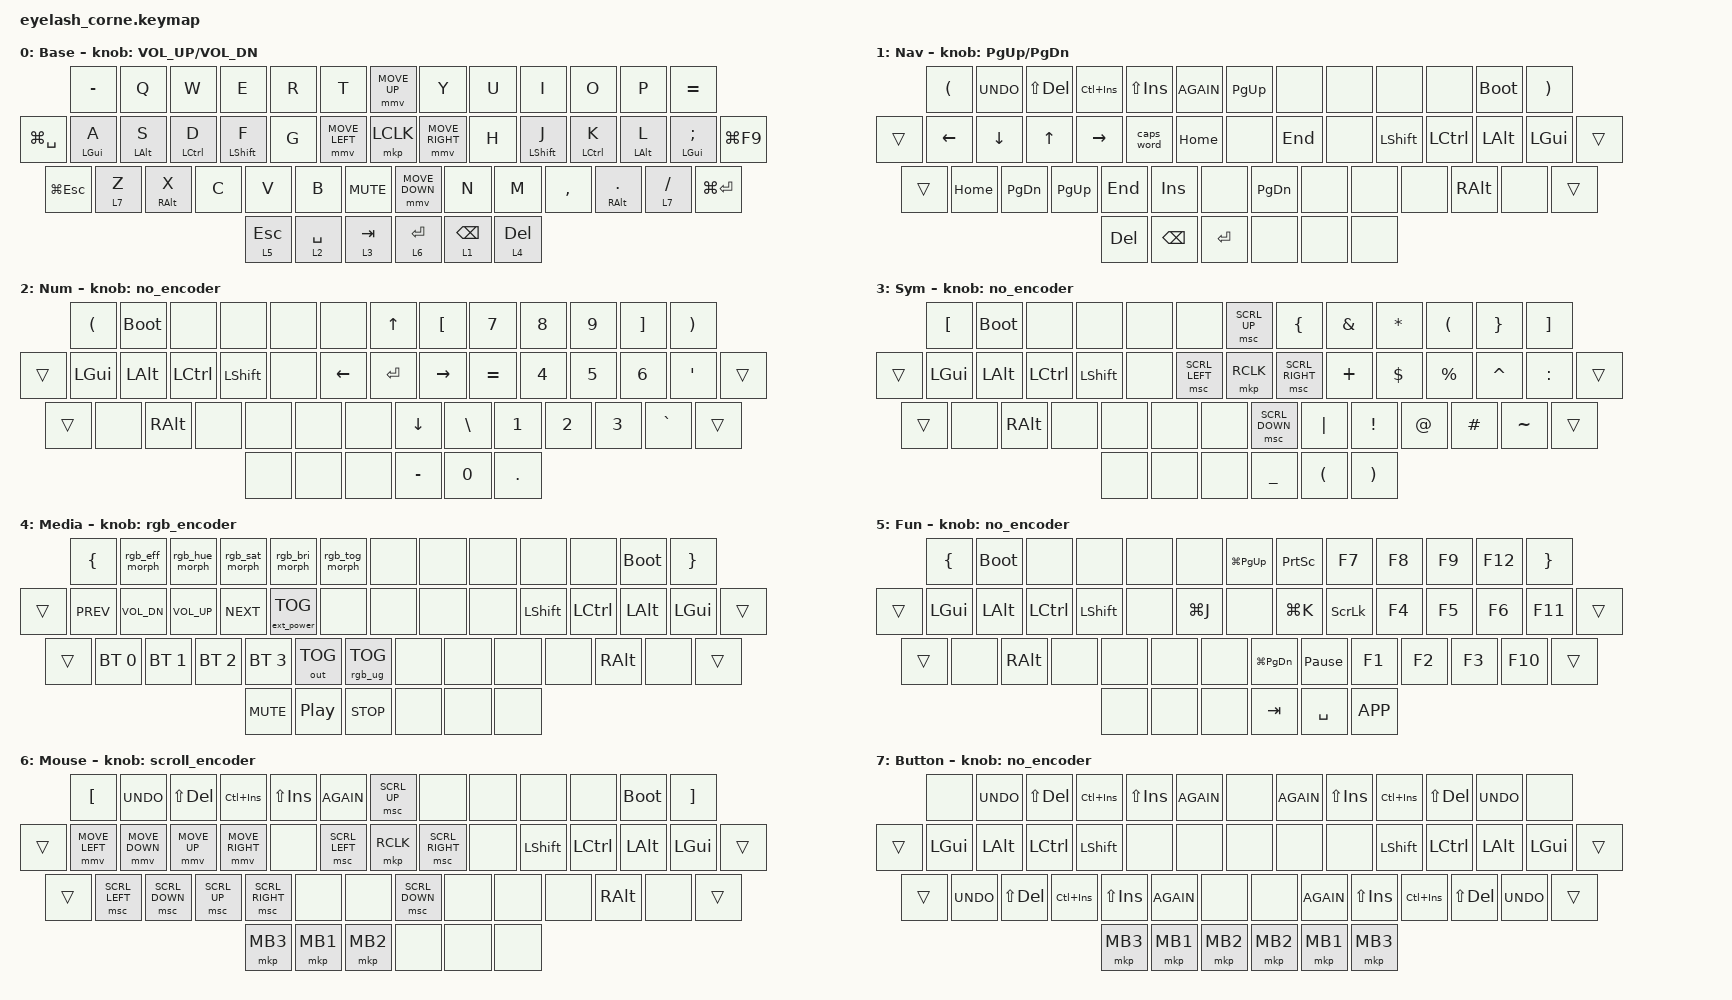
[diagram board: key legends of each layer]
#define ZMK_POINTING_DEFAULT_MOVE_VAL 1200  // 600
#define ZMK_POINTING_DEFAULT_SCRL_VAL 25   // 10

#include <input/processors.dtsi>
#include <zephyr/dt-bindings/input/input-event-codes.h>
#include <behaviors.dtsi>
#include <dt-bindings/zmk/bt.h>
#include <dt-bindings/zmk/ext_power.h>
#include <dt-bindings/zmk/keys.h>
#include <dt-bindings/zmk/modifiers.h>
#include <dt-bindings/zmk/outputs.h>
#include <dt-bindings/zmk/pointing.h>
#include <dt-bindings/zmk/rgb.h>

&mmv_input_listener { input-processors = <&zip_xy_scaler 2 1>; };

&msc_input_listener { input-processors = <&zip_scroll_scaler 2 1>; };

&msc {
    acceleration-exponent = <1>;
    time-to-max-speed-ms = <100>;
    delay-ms = <0>;
};

&mmv {
    time-to-max-speed-ms = <500>;
    acceleration-exponent = <1>;
    trigger-period-ms = <16>;
};

&soft_off { hold-time-ms = <2000>; };

// Miryoku's own hold-tap tuning (tap-preferred, 200ms), applied to both the
// built-in layer-tap behavior and our home-row-mod behavior below. quick-tap-ms
// is a deviation from stock Miryoku (which defines none): tap then quickly
// press-and-hold again within this window to repeat the tap key normally,
// instead of re-triggering the hold-tap decision — needed since tap-hold keys
// can't auto-repeat on their own while held.
&lt { tapping-term-ms = <200>; flavor = "tap-preferred"; quick-tap-ms = <175>; };

/ {
    behaviors {
        hrm: hrm {
            compatible = "zmk,behavior-hold-tap";
            #binding-cells = <2>;
            flavor = "tap-preferred";
            tapping-term-ms = <200>;
            quick-tap-ms = <175>;
            bindings = <&kp>, <&kp>;
        };

        rgb_encoder: rgb_encoder {
            compatible = "zmk,behavior-sensor-rotate";
            #sensor-binding-cells = <0>;
            bindings = <&rgb_ug RGB_EFF>, <&rgb_ug RGB_EFR>;
        };

        scroll_encoder: scroll_encoder {
            compatible = "zmk,behavior-sensor-rotate";
            #sensor-binding-cells = <0>;
            bindings = <&msc SCRL_DOWN>, <&msc SCRL_UP>;
            tap-ms = <100>;
        };

        no_encoder: no_encoder {
            compatible = "zmk,behavior-sensor-rotate";
            #sensor-binding-cells = <0>;
            bindings = <&none>, <&none>;
        };

        // Miryoku's RGB shift-functions: tap = increase/next, shift+tap = decrease/off.
        rgb_eff_morph: rgb_eff_morph {
            compatible = "zmk,behavior-mod-morph";
            #binding-cells = <0>;
            bindings = <&rgb_ug RGB_EFF>, <&rgb_ug RGB_EFR>;
            mods = <(MOD_LSFT|MOD_RSFT)>;
        };

        rgb_hue_morph: rgb_hue_morph {
            compatible = "zmk,behavior-mod-morph";
            #binding-cells = <0>;
            bindings = <&rgb_ug RGB_HUI>, <&rgb_ug RGB_HUD>;
            mods = <(MOD_LSFT|MOD_RSFT)>;
        };

        rgb_sat_morph: rgb_sat_morph {
            compatible = "zmk,behavior-mod-morph";
            #binding-cells = <0>;
            bindings = <&rgb_ug RGB_SAI>, <&rgb_ug RGB_SAD>;
            mods = <(MOD_LSFT|MOD_RSFT)>;
        };

        rgb_bri_morph: rgb_bri_morph {
            compatible = "zmk,behavior-mod-morph";
            #binding-cells = <0>;
            bindings = <&rgb_ug RGB_BRI>, <&rgb_ug RGB_BRD>;
            mods = <(MOD_LSFT|MOD_RSFT)>;
        };

        rgb_tog_morph: rgb_tog_morph {
            compatible = "zmk,behavior-mod-morph";
            #binding-cells = <0>;
            bindings = <&rgb_ug RGB_TOG>, <&rgb_ug RGB_OFF>;
            mods = <(MOD_LSFT|MOD_RSFT)>;
        };
    };

    combos {
        compatible = "zmk,combos";

        softoff {
            bindings = <&soft_off>;
            key-positions = <1 15 29>;
        };
    };

    keymap {
        compatible = "zmk,keymap";

        // Miryoku (github.com/manna-harbour/miryoku), QWERTY alphas, transcribed from
        // the canonical reference (manna-harbour/miryoku_zmk, non-flip, default Nav/
        // clipboard/mousekeys variants), then hand-inverted: the FLIP variant's hold
        // targets and mirrored per-layer content are used, but the thumb tap keycodes
        // are kept at their original (non-flip) physical positions (ESC/SPACE/TAB left,
        // RET/BSPC/DEL right) instead of FLIP's own mirrored tap keycodes.
        // Simplifications from stock Miryoku:
        //   - Single alpha layer only (no Extra/Tap alternate-base switching).
        //   - Per-layer "layer lock" toggle corners and the Base-return (&to 0) corner
        //     dropped entirely (kept plain &bootloader) — nothing in this simplified
        //     keymap can leave you off Base, so the escape hatch had no failure mode left.
        //   - RGB/BT/output shift-combo tricks (e.g. shift+BT_SEL=clear) not implemented;
        //     plain selects/toggles used instead.
        // Outer pinky column (this board's 6th column, not part of stock Miryoku) keeps
        // this session's own scheme, paired by thumb reach-tier across hands:
        //   Base = -/=.  Num+Nav (mid-reach) = ( / ).  Sym+Mouse (outer-reach) = [ / ].
        //   Fun+Media (inner-reach) = { / }.  Button = unused (no stock Miryoku content).
        // Joystick and encoder kept exactly as on main, reassigned by layer PURPOSE
        // (not by which thumb key now triggers it): Base=mouse/vol, Nav=nav keys/pgup-dn,
        // Num=arrows+Enter/none, Sym=scroll+Rclick/none, Media=none/RGB effect+toggle,
        // Fun=none/none, Mouse=none/scroll, Button=none/none.
        // Thumbs (tap keycode unchanged, hold target inverted):
        //   L=ESC(Fun)/SPACE(Num)/TAB(Sym)  R=RET(Mouse)/BSPC(Nav)/DEL(Media)
        default_layer {
            display-name = "Base";
            bindings = <
&kp MINUS  &kp Q  &kp W  &kp E  &kp R  &kp T                                   &mmv MOVE_UP              &kp Y  &kp U  &kp I  &kp O  &kp P            &kp EQUAL
&kp LG(SPACE)  &hrm LGUI A  &hrm LALT S  &hrm LCTRL D  &hrm LSHFT F  &kp G              &mmv MOVE_LEFT  &mkp LCLK  &mmv MOVE_RIGHT  &kp H  &hrm LSHFT J  &hrm LCTRL K  &hrm LALT L  &hrm LGUI SEMI   &kp LG(F9)
&kp LG(ESC)  &lt 7 Z  &hrm RALT X  &kp C  &kp V  &kp B       &kp C_MUTE &mmv MOVE_DOWN          &kp N  &kp M  &kp COMMA  &hrm RALT DOT  &lt 7 SLASH    &kp LG(RET)
                                &lt 5 ESC  &lt 2 SPACE  &lt 3 TAB   &lt 6 RET  &lt 1 BSPC  &lt 4 DEL
            >;
            sensor-bindings = <&inc_dec_kp C_VOL_UP C_VOL_DN>;
        };

        nav_layer {
            display-name = "Nav";
            bindings = <
&kp LPAR  &kp K_UNDO  &kp LS(DEL)  &kp LC(INS)  &kp LS(INS)  &kp K_AGAIN                                   &kp PG_UP              &none  &none  &none  &none  &bootloader            &kp RPAR
&trans  &kp LEFT  &kp DOWN  &kp UP  &kp RIGHT  &caps_word              &kp HOME  &none  &kp END  &none  &kp LSHFT  &kp LCTRL  &kp LALT  &kp LGUI   &trans
&trans  &kp HOME  &kp PG_DN  &kp PG_UP  &kp END  &kp INS       &none &kp PG_DN          &none  &none  &none  &kp RALT  &none    &trans
                                &kp DEL  &kp BSPC  &kp RET   &none  &none  &none
            >;
            sensor-bindings = <&inc_dec_kp PG_UP PG_DN>;
        };

        num_layer {
            display-name = "Num";
            bindings = <
&kp LPAR  &bootloader  &none  &none  &none  &none                                   &kp UP              &kp LBKT  &kp N7  &kp N8  &kp N9  &kp RBKT            &kp RPAR
&trans  &kp LGUI  &kp LALT  &kp LCTRL  &kp LSHFT  &none              &kp LEFT  &kp RET  &kp RIGHT  &kp EQUAL  &kp N4  &kp N5  &kp N6  &kp SQT   &trans
&trans  &none  &kp RALT  &none  &none  &none       &none &kp DOWN          &kp BSLH  &kp N1  &kp N2  &kp N3  &kp GRAVE    &trans
                                &none  &none  &none   &kp MINUS  &kp N0  &kp DOT
            >;
            sensor-bindings = <&no_encoder>;
        };

        sym_layer {
            display-name = "Sym";
            bindings = <
&kp LBKT  &bootloader  &none  &none  &none  &none                                   &msc SCRL_UP              &kp LBRC  &kp AMPS  &kp ASTRK  &kp LPAR  &kp RBRC            &kp RBKT
&trans  &kp LGUI  &kp LALT  &kp LCTRL  &kp LSHFT  &none              &msc SCRL_LEFT  &mkp RCLK  &msc SCRL_RIGHT  &kp PLUS  &kp DLLR  &kp PRCNT  &kp CARET  &kp COLON   &trans
&trans  &none  &kp RALT  &none  &none  &none       &none &msc SCRL_DOWN          &kp PIPE  &kp EXCL  &kp AT  &kp HASH  &kp TILDE    &trans
                                &none  &none  &none   &kp UNDER  &kp LPAR  &kp RPAR
            >;
            sensor-bindings = <&no_encoder>;
        };

        media_layer {
            display-name = "Media";
            bindings = <
&kp LBRC  &rgb_eff_morph  &rgb_hue_morph  &rgb_sat_morph  &rgb_bri_morph  &rgb_tog_morph                                   &none              &none  &none  &none  &none  &bootloader            &kp RBRC
&trans  &kp C_PREV  &kp C_VOL_DN  &kp C_VOL_UP  &kp C_NEXT  &ext_power EP_TOG              &none  &none  &none  &none  &kp LSHFT  &kp LCTRL  &kp LALT  &kp LGUI   &trans
&trans  &bt BT_SEL 0  &bt BT_SEL 1  &bt BT_SEL 2  &bt BT_SEL 3  &out OUT_TOG       &rgb_ug RGB_TOG &none          &none  &none  &none  &kp RALT  &none    &trans
                                &kp C_MUTE  &kp C_PP  &kp C_STOP   &none  &none  &none
            >;
            sensor-bindings = <&rgb_encoder>;
        };

        fun_layer {
            display-name = "Fun";
            bindings = <
&kp LBRC  &bootloader  &none  &none  &none  &none                                   &kp LG(PG_UP)              &kp PRINTSCREEN  &kp F7  &kp F8  &kp F9  &kp F12            &kp RBRC
&trans  &kp LGUI  &kp LALT  &kp LCTRL  &kp LSHFT  &none              &kp LG(J)  &none  &kp LG(K)  &kp SCROLLLOCK  &kp F4  &kp F5  &kp F6  &kp F11   &trans
&trans  &none  &kp RALT  &none  &none  &none       &none &kp LG(PG_DN)          &kp PAUSE_BREAK  &kp F1  &kp F2  &kp F3  &kp F10    &trans
                                &none  &none  &none   &kp TAB  &kp SPACE  &kp K_APP
            >;
            sensor-bindings = <&no_encoder>;
        };

        mouse_layer {
            display-name = "Mouse";
            bindings = <
&kp LBKT  &kp K_UNDO  &kp LS(DEL)  &kp LC(INS)  &kp LS(INS)  &kp K_AGAIN                                   &msc SCRL_UP              &none  &none  &none  &none  &bootloader            &kp RBKT
&trans  &mmv MOVE_LEFT  &mmv MOVE_DOWN  &mmv MOVE_UP  &mmv MOVE_RIGHT  &none              &msc SCRL_LEFT  &mkp RCLK  &msc SCRL_RIGHT  &none  &kp LSHFT  &kp LCTRL  &kp LALT  &kp LGUI   &trans
&trans  &msc SCRL_LEFT  &msc SCRL_DOWN  &msc SCRL_UP  &msc SCRL_RIGHT  &none       &none &msc SCRL_DOWN          &none  &none  &none  &kp RALT  &none    &trans
                                &mkp MB3  &mkp MB1  &mkp MB2   &none  &none  &none
            >;
            sensor-bindings = <&scroll_encoder>;
        };

        button_layer {
            display-name = "Button";
            bindings = <
&none  &kp K_UNDO  &kp LS(DEL)  &kp LC(INS)  &kp LS(INS)  &kp K_AGAIN                                   &none              &kp K_AGAIN  &kp LS(INS)  &kp LC(INS)  &kp LS(DEL)  &kp K_UNDO            &none
&trans  &kp LGUI  &kp LALT  &kp LCTRL  &kp LSHFT  &none              &none  &none  &none  &none  &kp LSHFT  &kp LCTRL  &kp LALT  &kp LGUI   &trans
&trans  &kp K_UNDO  &kp LS(DEL)  &kp LC(INS)  &kp LS(INS)  &kp K_AGAIN       &none &none          &kp K_AGAIN  &kp LS(INS)  &kp LC(INS)  &kp LS(DEL)  &kp K_UNDO    &trans
                                &mkp MB3  &mkp MB1  &mkp MB2   &mkp MB2  &mkp MB1  &mkp MB3
            >;
            sensor-bindings = <&no_encoder>;
        };
    };
};
